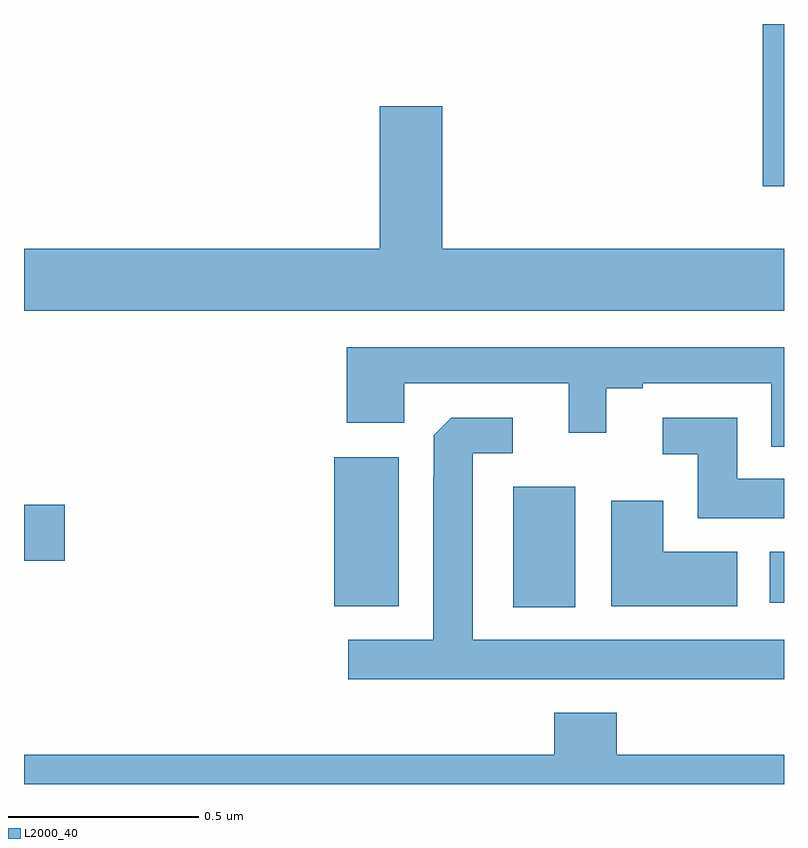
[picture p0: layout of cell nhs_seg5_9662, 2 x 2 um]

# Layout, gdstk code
import gdstk
lib = gdstk.Library(unit=1e-6, precision=1e-09)
def R(c, l, rs):  # rectangles x0, y0, x1, y1
    for r in rs: c.add(gdstk.rectangle(r[:2], r[2:], *l))
def P(c, l, *ps):  # polygons
    for p in ps: c.add(gdstk.Polygon(p, *l))
L2000_40 = (2000, 40)

nhs_seg5_9662 = lib.new_cell('nhs_seg5_9662')
R(nhs_seg5_9662, L2000_40, [(237.287,905.264,237.451,905.581), (236.816,905.267,236.986,905.659), (237.962,905.276,238,905.41), (236,905.387,236.107,905.534), (237.944,906.372,238,906.799)])
P(nhs_seg5_9662, L2000_40, [(238,906.208),(237.1,906.208),(237.1,906.583),(236.936,906.583),(236.936,906.208),(236,906.208),(236,906.044),(238,906.044)],
  [(238,905.949),(236.849,905.949),(236.849,905.75),(237,905.75),(237,905.853),(237.434,905.853),(237.434,905.724),(237.532,905.724),(237.532,905.841),(237.628,905.841),(237.628,905.853),(237.966,905.853),(237.966,905.687),(238,905.687)],
  [(238,905.179),(237.181,905.179),(237.181,905.67),(237.286,905.67),(237.286,905.763),(237.124,905.763),(237.078,905.717),(237.078,905.606),(237.077,905.606),(237.077,905.179),(236.853,905.179),(236.853,905.075),(238,905.075)],
  [(238,905.602),(237.877,905.602),(237.877,905.763),(237.681,905.763),(237.681,905.667),(237.773,905.667),(237.773,905.498),(238,905.498)],
  [(237.877,905.41),(237.682,905.41),(237.682,905.545),(237.545,905.545),(237.545,905.267),(237.877,905.267)],
  [(237.395,904.987),(237.395,904.876),(236,904.876),(236,904.799),(238,904.799),(238,904.876),(237.56,904.876),(237.56,904.987)])

lib.write_gds('nhs_seg5_9662.gds')
